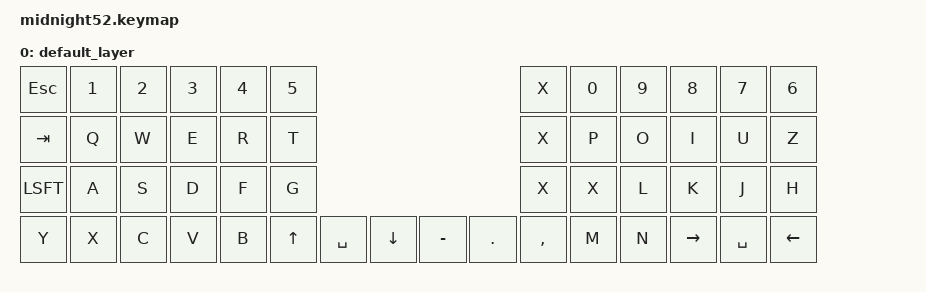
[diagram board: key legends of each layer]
// SPDX-License-Identifier: MIT

#include <behaviors.dtsi>
#include <dt-bindings/zmk/keys.h>
#include <dt-bindings/zmk/bt.h>

/ {
    keymap {
        compatible = "zmk,keymap";

        default_layer {
            /*
             * Left hand:
             * Row1:  ESC  1    2    3    4    5
             * Row2:  TAB  Q    W    E    R    T
             * Row3:  LSFT A    S    D    F    G
             * Row4:  Y    X    C    V    B    UP   SPC  DOWN
             *
             * Right hand:
             * Row1:  X    0    9    8    7    6
             * Row2:  X    P    O    I    U    Z
             * Row3:  X    X    L    K    J    H
             * Row4:  MINS DOT  COMM M    N    RIGHT SPC LEFT
             */
            bindings = <
                &kp ESC   &kp N1   &kp N2   &kp N3   &kp N4   &kp N5                                          &kp X    &kp N0   &kp N9   &kp N8   &kp N7   &kp N6
                &kp TAB   &kp Q    &kp W    &kp E    &kp R    &kp T                                           &kp X    &kp P    &kp O    &kp I    &kp U    &kp Z
                &kp LSFT  &kp A    &kp S    &kp D    &kp F    &kp G                                           &kp X    &kp X    &kp L    &kp K    &kp J    &kp H
                &kp Y     &kp X    &kp C    &kp V    &kp B    &kp UP   &kp SPACE &kp DOWN   &kp MINUS &kp DOT &kp COMMA &kp M   &kp N    &kp RIGHT &kp SPACE &kp LEFT
            >;
        };
    };
};
